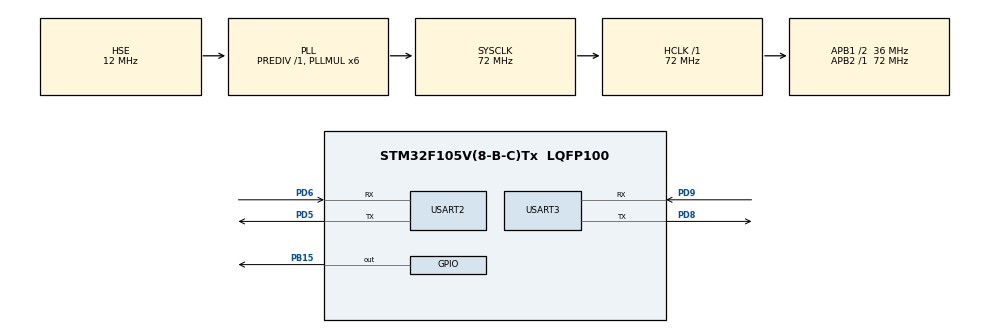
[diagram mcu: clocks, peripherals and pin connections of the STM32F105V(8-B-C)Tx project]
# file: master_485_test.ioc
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Dma.Request0=USART3_RX
Dma.Request1=USART3_TX
Dma.USART3_RX.0.Direction=DMA_PERIPH_TO_MEMORY
Dma.USART3_RX.0.Instance=DMA1_Channel3
Dma.USART3_RX.0.MemDataAlignment=DMA_MDATAALIGN_BYTE
Dma.USART3_RX.0.MemInc=DMA_MINC_ENABLE
Dma.USART3_RX.0.Mode=DMA_NORMAL
Dma.USART3_RX.0.PeriphDataAlignment=DMA_PDATAALIGN_BYTE
Dma.USART3_RX.0.PeriphInc=DMA_PINC_DISABLE
Dma.USART3_RX.0.Priority=DMA_PRIORITY_LOW
Dma.USART3_TX.1.Direction=DMA_MEMORY_TO_PERIPH
Dma.USART3_TX.1.Instance=DMA1_Channel2
Dma.USART3_TX.1.MemDataAlignment=DMA_MDATAALIGN_BYTE
Dma.USART3_TX.1.MemInc=DMA_MINC_ENABLE
Dma.USART3_TX.1.Mode=DMA_NORMAL
Dma.USART3_TX.1.PeriphDataAlignment=DMA_PDATAALIGN_BYTE
Dma.USART3_TX.1.PeriphInc=DMA_PINC_DISABLE
Dma.USART3_TX.1.Priority=DMA_PRIORITY_LOW
Mcu.Family=STM32F1
Mcu.Name=STM32F105V(8-B-C)Tx
Mcu.Package=LQFP100
NVIC.DMA1_Channel2_IRQn=true\:0\:0\:false\:false\:true\:false
NVIC.DMA1_Channel3_IRQn=true\:0\:0\:false\:false\:true\:false
NVIC.PriorityGroup=NVIC_PRIORITYGROUP_4
NVIC.USART2_IRQn=true\:0\:0\:false\:false\:true\:true
NVIC.USART3_IRQn=true\:0\:0\:false\:false\:true\:true
OSC_IN.Mode=HSE-External-Oscillator
OSC_IN.Signal=RCC_OSC_IN
OSC_OUT.Mode=HSE-External-Oscillator
OSC_OUT.Signal=RCC_OSC_OUT
PA13.Mode=Serial_Wire
PA13.Signal=SYS_JTMS-SWDIO
PA14.Mode=Serial_Wire
PA14.Signal=SYS_JTCK-SWCLK
PB15.Signal=GPIO_Output
PD5.Mode=Asynchronous
PD5.Signal=USART2_TX
PD6.Mode=Asynchronous
PD6.Signal=USART2_RX
PD8.Mode=Asynchronous
PD8.Signal=USART3_TX
PD9.Mode=Asynchronous
PD9.Signal=USART3_RX
ProjectManager.HeapSize=0x200
ProjectManager.StackSize=0x400
ProjectManager.TargetToolchain=MDK-ARM V5
RCC.AHBFreq_Value=72000000
RCC.APB1CLKDivider=RCC_HCLK_DIV2
RCC.APB1Freq_Value=36000000
RCC.APB1TimFreq_Value=72000000
RCC.APB2Freq_Value=72000000
RCC.APB2TimFreq_Value=72000000
RCC.HCLKFreq_Value=72000000
RCC.HSE_VALUE=12000000
RCC.PLLMUL=RCC_PLL_MUL6
RCC.PLLSourceVirtual=RCC_PLLSOURCE_HSE
RCC.SYSCLKFreq_VALUE=72000000
RCC.SYSCLKSource=RCC_SYSCLKSOURCE_PLLCLK
RCC.USBFreq_Value=48000000
USART2.VirtualMode=VM_ASYNC
USART3.VirtualMode=VM_ASYNC
board=custom

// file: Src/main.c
/**
  ******************************************************************************
  * @file           : main.c
  * @brief          : Main program body
  ******************************************************************************
  ** This notice applies to any and all portions of this file
  * that are not between comment pairs USER CODE BEGIN and
  * USER CODE END. Other portions of this file, whether
  * inserted by the user or by software development tools
  * are owned by their respective copyright owners.
  *
  * COPYRIGHT(c) 2019 STMicroelectronics
  *
  * Redistribution and use in source and binary forms, with or without modification,
  * are permitted provided that the following conditions are met:
  *   1. Redistributions of source code must retain the above copyright notice,
  *      this list of conditions and the following disclaimer.
  *   2. Redistributions in binary form must reproduce the above copyright notice,
  *      this list of conditions and the following disclaimer in the documentation
  *      and/or other materials provided with the distribution.
  *   3. Neither the name of STMicroelectronics nor the names of its contributors
  *      may be used to endorse or promote products derived from this software
  *      without specific prior written permission.
  *
  * THIS SOFTWARE IS PROVIDED BY THE COPYRIGHT HOLDERS AND CONTRIBUTORS "AS IS"
  * AND ANY EXPRESS OR IMPLIED WARRANTIES, INCLUDING, BUT NOT LIMITED TO, THE
  * IMPLIED WARRANTIES OF MERCHANTABILITY AND FITNESS FOR A PARTICULAR PURPOSE ARE
  * DISCLAIMED. IN NO EVENT SHALL THE COPYRIGHT HOLDER OR CONTRIBUTORS BE LIABLE
  * FOR ANY DIRECT, INDIRECT, INCIDENTAL, SPECIAL, EXEMPLARY, OR CONSEQUENTIAL
  * DAMAGES (INCLUDING, BUT NOT LIMITED TO, PROCUREMENT OF SUBSTITUTE GOODS OR
  * SERVICES; LOSS OF USE, DATA, OR PROFITS; OR BUSINESS INTERRUPTION) HOWEVER
  * CAUSED AND ON ANY THEORY OF LIABILITY, WHETHER IN CONTRACT, STRICT LIABILITY,
  * OR TORT (INCLUDING NEGLIGENCE OR OTHERWISE) ARISING IN ANY WAY OUT OF THE USE
  * OF THIS SOFTWARE, EVEN IF ADVISED OF THE POSSIBILITY OF SUCH DAMAGE.
  *
  ******************************************************************************
  */
#include "main.h"
#include "stm32f1xx_hal.h"

UART_HandleTypeDef huart2;
UART_HandleTypeDef huart3;
DMA_HandleTypeDef hdma_usart3_rx;
DMA_HandleTypeDef hdma_usart3_tx;

/* USER CODE BEGIN PV */
/* Private variables ---------------------------------------------------------*/

/* USER CODE END PV */

void SystemClock_Config(void);
static void MX_GPIO_Init(void);
static void MX_DMA_Init(void);
static void MX_USART3_UART_Init(void);
static void MX_USART2_UART_Init(void);

/* USER CODE BEGIN PFP */
/* Private function prototypes -----------------------------------------------*/

/* USER CODE END PFP */

/* USER CODE BEGIN 0 */

uint8_t ReceiveBuff[BUFFERSIZE];						//发送缓冲区
uint8_t TransmitBuff[BUFFERSIZE];						//接收缓冲区

uint8_t recv_end_flag = 0;	//接收完成中断，接收到字符长度
uint8_t Rx_len = 0;				  // 接收到的字符长度

uint16_t g_Error_Count = 0;  // 统计接收到的错误帧
int32_t g_last_recv_number = -1;

uint8_t get_flag = 0;

// 检查接收到的数据是否正确、
void Check_Buff(uint8_t* RecvBuff);

// 根据接收到的数据，填充发送的数据
void Fill_Buffer(uint8_t* RecvBuff,uint8_t* TransBuff);

// 32位的数据转换为uint8的数组
void uint32_to_uint8(uint32_t number,uint8_t* data);

// 将uint8的数组转换成32位的数据
uint32_t uint8_to_uint32(uint8_t data[]);

/* USER CODE END 0 */

int main(void)
{
  /* USER CODE BEGIN 1 */
	uint16_t i;
	uint32_t tick = 0;
	uint8_t len = 0;
  /* USER CODE END 1 */

  /* MCU Configuration----------------------------------------------------------*/

  /* Reset of all peripherals, Initializes the Flash interface and the Systick. */
  HAL_Init();

  /* Configure the system clock */
  SystemClock_Config();

  /* Initialize all configured peripherals */
  MX_GPIO_Init();
  MX_DMA_Init();
  MX_USART3_UART_Init();
  MX_USART2_UART_Init();
  /* USER CODE BEGIN 2 */

	printf("Hell\r\n");

	for(i = 0;i<10;i++)
	{
			TransmitBuff[i] = 0x0;
	}

	// 转为发送状态
	HAL_GPIO_WritePin(GPIOB, GPIO_PIN_15, GPIO_PIN_SET);
	HAL_Delay(5);
	HAL_UART_Transmit_DMA(&huart3, (uint8_t *)TransmitBuff,10);
	HAL_Delay(5);
	// 转为接收状态
	HAL_GPIO_WritePin(GPIOB, GPIO_PIN_15, GPIO_PIN_RESET);

	tick = HAL_GetTick();
  /* USER CODE END 2 */

  /* Infinite loop */
  /* USER CODE BEGIN WHILE */
  while (1)
  {
		if(recv_end_flag==1)
		{
			tick = HAL_GetTick();

			printf("Recv Data:");
			for (i = 0;i<Rx_len;i++)
			{
				printf("%x ",ReceiveBuff[i]);

			}
			printf(",\terror_count = %d\r\n",g_Error_Count);
			Rx_len=0;
			recv_end_flag=0;

			Check_Buff(ReceiveBuff);
			// 根据接收的数据，填充发送的数据
			Fill_Buffer(ReceiveBuff,TransmitBuff);

			// 关闭串口
			huart3.Instance->CR1&= (~(uint32_t)0x0004);
			// 转为发送状态
			//HAL_Delay(5);
			HAL_GPIO_WritePin(GPIOB, GPIO_PIN_15, GPIO_PIN_SET);
			HAL_Delay(100);
      HAL_UART_Transmit_DMA(&huart3, (uint8_t *)TransmitBuff,6);
			//while(huart2.hdmatx->Instance->CNDTR);
			// 转为接收状态

			HAL_Delay(100);
			HAL_GPIO_WritePin(GPIOB, GPIO_PIN_15, GPIO_PIN_RESET);

						// 打开串口
			huart3.Instance->CR1|= (uint32_t)0x0004;

		}
		else if((HAL_GetTick()-tick)>5000)
		{
//			len=Rx_len;            //得到此次接收到的数据长度
			tick = HAL_GetTick();
			for(i = 0;i<len;i++)
			{
				TransmitBuff[i] = i;
			}
//
			// 关闭串口
			huart3.Instance->CR1&= (~(uint32_t)0x0004);
			// 转为发送状态
			//HAL_Delay(5);
			HAL_GPIO_WritePin(GPIOB, GPIO_PIN_15, GPIO_PIN_SET);
			HAL_Delay(10);
      HAL_UART_Transmit_DMA(&huart3, (uint8_t *)TransmitBuff,6);
			//while(huart2.hdmatx->Instance->CNDTR);
			// 转为接收状态

			HAL_Delay(5);
			HAL_GPIO_WritePin(GPIOB, GPIO_PIN_15, GPIO_PIN_RESET);

			// 打开串口
			huart3.Instance->CR1|= (uint32_t)0x0004;

		}

		HAL_UART_Receive_DMA(&huart3,(uint8_t*)ReceiveBuff,BUFFERSIZE);

		// 插拔之后可能会出现LBD、ORE标志位置位，需要及时检测，进行复位。
		// 在ORE标志位置位之后，由于缓冲区溢出，RXNE标志位也会跟着置位，所以也要及时清空，开不开中断无所谓。
		// 在串口初始化时打开了ERR中断，遇到ORE标志位置位会进入ErrCallBack函数，为什么不在中断函数里进行置位呢，
		// 因为可能在接收数据的函数里把Err中断给关掉了，所以只能在主函数里进行清空。
		if(__HAL_UART_GET_FLAG(&huart3,UART_FLAG_LBD)==SET)
		{
			__HAL_UART_CLEAR_FLAG(&huart3,UART_FLAG_LBD);
		}
//		if(__HAL_UART_GET_FLAG(&huart3,UART_FLAG_RXNE)==SET)
//		{
//
//		}
		if(__HAL_UART_GET_FLAG(&huart3,UART_FLAG_ORE) != RESET)
    {
			 //HAL_UART_Receive_IT(huart,(uint8_t *)&i,1);
			 __HAL_UART_CLEAR_FLAG(&huart3,UART_FLAG_RXNE);
       __HAL_UART_CLEAR_OREFLAG(&huart3);
    }

  /* USER CODE END WHILE */

  }

}
void Check_Buff(uint8_t* RecvBuff)
{
	uint32_t number = 0;
	number = uint8_to_uint32(RecvBuff);
	if(number!=(g_last_recv_number+2))
	{
		g_Error_Count++;
	}
	else
	{
		g_last_recv_number = number;
	}
}

void Fill_Buffer(uint8_t* RecvBuff,uint8_t* TransBuff)
{
		uint32_t number = 0;
		number = uint8_to_uint32(RecvBuff);
		number++;
		uint32_to_uint8(number,TransBuff);

		TransBuff[4] = 0xa;
		TransBuff[5] = 0xa;
}

void CopyBuffer(uint8_t* source,uint8_t* dest,uint8_t len)
{
		int i = 0;
		for(i = 0; i<len;i++)
		{
				dest[i] = source[i];
		}

}

void uint32_to_uint8(uint32_t number,uint8_t data[])
{
	int i = 0;
	for(i = 0; i < 4; i++)
	{
		data[i] = number>>(8*(3-i));

	}

//    data[0] = number>>24;
//    data[1] = number>>16;
//    data[2] = number>>8;
//    data[3] = number;
}
uint32_t uint8_to_uint32(uint8_t data[]){
    uint32_t number = 0;
    number = number | data[0] << 24 | data[1] << 16 | data[2] << 8 | data[3];
    return number;
}
void SystemClock_Config(void)
{

  RCC_OscInitTypeDef RCC_OscInitStruct;
  RCC_ClkInitTypeDef RCC_ClkInitStruct;

    /**Initializes the CPU, AHB and APB busses clocks
    */
  RCC_OscInitStruct.OscillatorType = RCC_OSCILLATORTYPE_HSE;
  RCC_OscInitStruct.HSEState = RCC_HSE_ON;
  RCC_OscInitStruct.HSEPredivValue = RCC_HSE_PREDIV_DIV1;
  RCC_OscInitStruct.HSIState = RCC_HSI_ON;
  RCC_OscInitStruct.Prediv1Source = RCC_PREDIV1_SOURCE_HSE;
  RCC_OscInitStruct.PLL.PLLState = RCC_PLL_ON;
  RCC_OscInitStruct.PLL.PLLSource = RCC_PLLSOURCE_HSE;
  RCC_OscInitStruct.PLL.PLLMUL = RCC_PLL_MUL6;
  RCC_OscInitStruct.PLL2.PLL2State = RCC_PLL_NONE;
  if (HAL_RCC_OscConfig(&RCC_OscInitStruct) != HAL_OK)
  {
    _Error_Handler(__FILE__, __LINE__);
  }

    /**Initializes the CPU, AHB and APB busses clocks
    */
  RCC_ClkInitStruct.ClockType = RCC_CLOCKTYPE_HCLK|RCC_CLOCKTYPE_SYSCLK
                              |RCC_CLOCKTYPE_PCLK1|RCC_CLOCKTYPE_PCLK2;
  RCC_ClkInitStruct.SYSCLKSource = RCC_SYSCLKSOURCE_PLLCLK;
  RCC_ClkInitStruct.AHBCLKDivider = RCC_SYSCLK_DIV1;
  RCC_ClkInitStruct.APB1CLKDivider = RCC_HCLK_DIV2;
  RCC_ClkInitStruct.APB2CLKDivider = RCC_HCLK_DIV1;

  if (HAL_RCC_ClockConfig(&RCC_ClkInitStruct, FLASH_LATENCY_2) != HAL_OK)
  {
    _Error_Handler(__FILE__, __LINE__);
  }

    /**Configure the Systick interrupt time
    */
  HAL_SYSTICK_Config(HAL_RCC_GetHCLKFreq()/1000);

    /**Configure the Systick
    */
  HAL_SYSTICK_CLKSourceConfig(SYSTICK_CLKSOURCE_HCLK);

    /**Configure the Systick interrupt time
    */
  __HAL_RCC_PLLI2S_ENABLE();

  /* SysTick_IRQn interrupt configuration */
  HAL_NVIC_SetPriority(SysTick_IRQn, 0, 0);
}

/* USART2 init function */
static void MX_USART2_UART_Init(void)
{

  huart2.Instance = USART2;
  huart2.Init.BaudRate = 115200;
  huart2.Init.WordLength = UART_WORDLENGTH_8B;
  huart2.Init.StopBits = UART_STOPBITS_1;
  huart2.Init.Parity = UART_PARITY_NONE;
  huart2.Init.Mode = UART_MODE_TX_RX;
  huart2.Init.HwFlowCtl = UART_HWCONTROL_NONE;
  huart2.Init.OverSampling = UART_OVERSAMPLING_16;
  if (HAL_UART_Init(&huart2) != HAL_OK)
  {
    _Error_Handler(__FILE__, __LINE__);
  }

}

/* USART3 init function */
static void MX_USART3_UART_Init(void)
{

  huart3.Instance = USART3;
  huart3.Init.BaudRate = 115200;
  huart3.Init.WordLength = UART_WORDLENGTH_8B;
  huart3.Init.StopBits = UART_STOPBITS_1;
  huart3.Init.Parity = UART_PARITY_NONE;
  huart3.Init.Mode = UART_MODE_TX_RX;
  huart3.Init.HwFlowCtl = UART_HWCONTROL_NONE;
  huart3.Init.OverSampling = UART_OVERSAMPLING_16;
  if (HAL_UART_Init(&huart3) != HAL_OK)
  {
    _Error_Handler(__FILE__, __LINE__);
  }
	__HAL_UART_ENABLE_IT(&huart3,UART_IT_IDLE);
}

static void MX_DMA_Init(void)
{
  /* DMA controller clock enable */
  __HAL_RCC_DMA1_CLK_ENABLE();

  /* DMA interrupt init */
  /* DMA1_Channel2_IRQn interrupt configuration */
  HAL_NVIC_SetPriority(DMA1_Channel2_IRQn, 0, 0);
  HAL_NVIC_EnableIRQ(DMA1_Channel2_IRQn);
  /* DMA1_Channel3_IRQn interrupt configuration */
  HAL_NVIC_SetPriority(DMA1_Channel3_IRQn, 0, 0);
  HAL_NVIC_EnableIRQ(DMA1_Channel3_IRQn);

}

/** Configure pins as
        * Analog
        * Input
        * Output
        * EVENT_OUT
        * EXTI
*/
static void MX_GPIO_Init(void)
{

  GPIO_InitTypeDef GPIO_InitStruct;

  /* GPIO Ports Clock Enable */
  __HAL_RCC_GPIOB_CLK_ENABLE();
  __HAL_RCC_GPIOD_CLK_ENABLE();
  __HAL_RCC_GPIOA_CLK_ENABLE();

  /*Configure GPIO pin Output Level */
  HAL_GPIO_WritePin(GPIOB, GPIO_PIN_15, GPIO_PIN_RESET);

  /*Configure GPIO pin : PB15 */
  GPIO_InitStruct.Pin = GPIO_PIN_15;
  GPIO_InitStruct.Mode = GPIO_MODE_OUTPUT_PP;
  GPIO_InitStruct.Pull = GPIO_NOPULL;
  GPIO_InitStruct.Speed = GPIO_SPEED_FREQ_LOW;
  HAL_GPIO_Init(GPIOB, &GPIO_InitStruct);

}

void _Error_Handler(char *file, int line)
{
  while(1)
  {
  }
}

/************************ (C) COPYRIGHT STMicroelectronics *****END OF FILE****/
